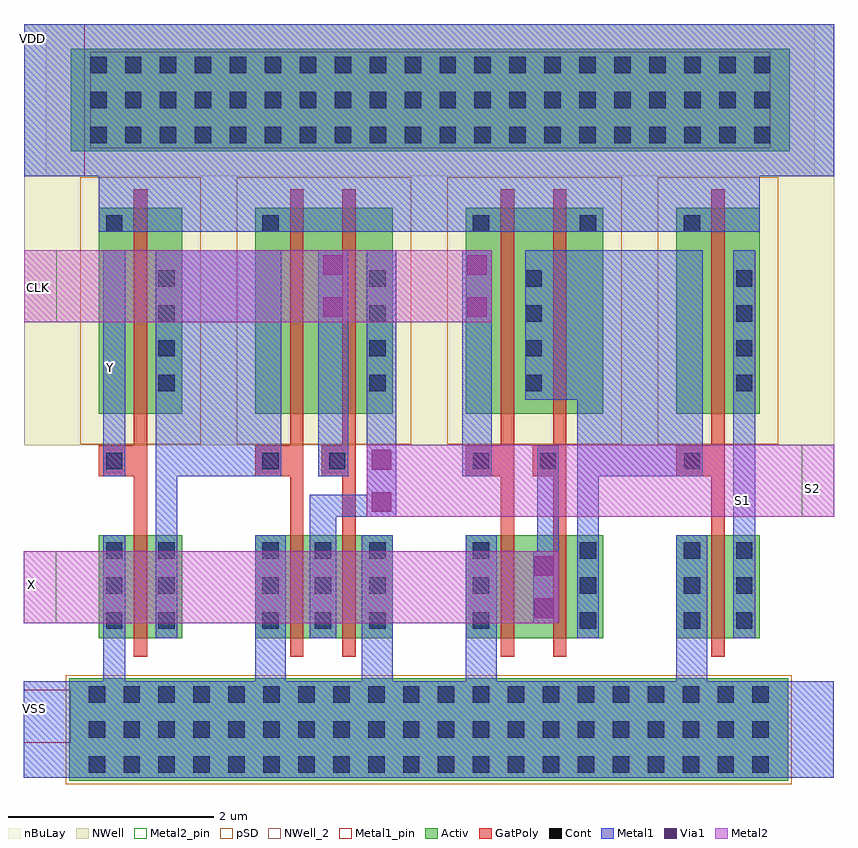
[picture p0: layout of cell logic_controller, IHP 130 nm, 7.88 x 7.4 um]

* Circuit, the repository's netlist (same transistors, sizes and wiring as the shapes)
** sch_path: /home/designer/shared/designs/SSDOR_1.2V_v3/components/logic_controller/logic_controller.sch
.subckt logic_controller VDD X S1 CLK Y S2 VSS
*.PININFO X:I CLK:I Y:I S1:O S2:O VSS:B VDD:B
MM1 net1 X VDD well sg13_lv_pmos w=2u l=0.13u ng=1 m=1
MM2 net1 CLK VDD well sg13_lv_pmos w=2u l=0.13u ng=1 m=1
MM3 net1 X net3 VSS sg13_lv_nmos w=1u l=0.13u ng=1 m=1
MM4 net3 CLK VSS VSS sg13_lv_nmos w=1u l=0.13u ng=1 m=1
MM5 S1 net1 VDD well sg13_lv_pmos w=2u l=0.13u ng=1 m=1
MM6 S1 net1 VSS VSS sg13_lv_nmos w=1u l=0.13u ng=1 m=1
MM7 net2 Y VDD well sg13_lv_pmos w=2u l=0.13u ng=1 m=1
MM8 net2 Y VSS VSS sg13_lv_nmos w=1u l=0.13u ng=1 m=1
MM9 net4 net2 VDD well sg13_lv_pmos w=2u l=0.13u ng=1 m=1
MM10 S2 CLK net4 well sg13_lv_pmos w=2u l=0.13u ng=1 m=1
MM11 S2 net2 VSS VSS sg13_lv_nmos w=1u l=0.13u ng=1 m=1
MM12 S2 CLK VSS VSS sg13_lv_nmos w=1u l=0.13u ng=1 m=1
RR1 VDD well ntap1 A=7e-12 P=1.6e-05
.ends

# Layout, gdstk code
import gdstk
lib = gdstk.Library(unit=1e-6, precision=5e-09)
def R(c, l, rs):  # rectangles x0, y0, x1, y1
    for r in rs: c.add(gdstk.rectangle(r[:2], r[2:], *l))
def A(c, l, x, y, w, h, nx, ny, dx, dy):  # array of equal rectangles
    R(c, l, [(x+i*dx, y+j*dy, x+i*dx+w, y+j*dy+h) for i in range(nx) for j in range(ny)])
def P(c, l, *ps):  # polygons
    for p in ps: c.add(gdstk.Polygon(p, *l))
Activ = (1, 0)
GatPoly = (5, 0)
Cont = (6, 0)
Metal1 = (8, 0)
Metal1_pin = (8, 2)
Metal2 = (10, 0)
Metal2_pin = (10, 2)
pSD = (14, 0)
Via1 = (19, 0)
NWell = (31, 0)
NWell_2 = (31, 2)
nBuLay = (32, 0)

via_stack_1 = lib.new_cell('via_stack$1')
R(via_stack_1, Metal1, [(-0.105,-0.35,0.105,0.35)])
R(via_stack_1, Metal2, [(-0.1,-0.35,0.1,0.35)])
R(via_stack_1, Via1, [(-0.095,-0.3,0.095,-0.11), (-0.095,0.11,0.095,0.3)])

ntap1_1 = lib.new_cell('ntap1$1')
R(ntap1_1, Activ, [(0,0,7,1)])
A(ntap1_1, Cont, 0.19, 0.08, 0.16, 0.16, 20, 3, 0.34, 0.34)
R(ntap1_1, Metal1, [(0.19,0.03,6.81,0.97)])
R(ntap1_1, Metal1_pin, [(0.19,0.03,6.81,0.97), (0.19,0.08,6.81,0.92)])
R(ntap1_1, NWell, [(-0.24,-0.24,7.24,1.24), (0,0,7,1)])
R(ntap1_1, NWell_2, [(0,0,7,1)])
R(ntap1_1, nBuLay, [(-0.24,-0.24,7.24,1.24)])
ntap1_1.add(gdstk.Label('well', (3.5,0.01), layer=31, texttype=0))
ntap1_1.add(gdstk.Label('well', (3.5,0.01), layer=63, texttype=0))

logic_controller = lib.new_cell('logic_controller')
R(logic_controller, Activ, [(4.075,2.805,11.075,3.805), (4.365,4.195,5.175,5.195), (5.885,4.195,7.225,5.195), (7.935,4.195,9.275,5.195), (9.985,4.195,10.795,5.195), (4.365,6.38,5.175,8.38), (5.885,6.38,7.225,8.38), (7.935,6.38,9.275,8.38), (9.985,6.38,10.795,8.38)])
P(logic_controller, GatPoly, [(4.705,4.015),(4.705,5.77),(4.365,5.77),(4.365,6.07),(4.705,6.07),(4.705,8.56),(4.835,8.56),(4.835,4.015)],
  [(6.225,4.015),(6.225,5.77),(5.885,5.77),(5.885,6.07),(6.225,6.07),(6.225,8.56),(6.355,8.56),(6.355,4.015)],
  [(6.735,4.015),(6.735,5.77),(6.535,5.77),(6.535,6.07),(6.735,6.07),(6.735,8.56),(6.865,8.56),(6.865,4.015)],
  [(8.275,4.015),(8.275,5.77),(7.935,5.77),(7.935,6.07),(8.275,6.07),(8.275,8.56),(8.405,8.56),(8.405,4.015)],
  [(8.785,4.015),(8.785,5.77),(8.585,5.77),(8.585,6.07),(8.785,6.07),(8.785,8.56),(8.915,8.56),(8.915,4.015)],
  [(10.325,4.015),(10.325,5.77),(9.985,5.77),(9.985,6.07),(10.325,6.07),(10.325,8.56),(10.455,8.56),(10.455,4.015)])
A(logic_controller, Cont, 4.265, 2.885, 0.16, 0.16, 20, 3, 0.34, 0.34)
A(logic_controller, Cont, 4.435, 4.285, 0.16, 0.16, 1, 3, 0, 0.34)
A(logic_controller, Cont, 4.945, 4.285, 0.16, 0.16, 1, 3, 0, 0.34)
A(logic_controller, Cont, 5.955, 4.285, 0.16, 0.16, 1, 3, 0, 0.34)
A(logic_controller, Cont, 6.465, 4.285, 0.16, 0.16, 1, 3, 0, 0.34)
A(logic_controller, Cont, 6.995, 4.285, 0.16, 0.16, 1, 3, 0, 0.34)
A(logic_controller, Cont, 8.005, 4.285, 0.16, 0.16, 1, 3, 0, 0.34)
A(logic_controller, Cont, 9.045, 4.285, 0.16, 0.16, 1, 3, 0, 0.34)
A(logic_controller, Cont, 10.055, 4.285, 0.16, 0.16, 1, 3, 0, 0.34)
A(logic_controller, Cont, 10.565, 4.285, 0.16, 0.16, 1, 3, 0, 0.34)
A(logic_controller, Cont, 4.945, 6.595, 0.16, 0.16, 1, 4, 0, 0.34)
A(logic_controller, Cont, 6.995, 6.595, 0.16, 0.16, 1, 4, 0, 0.34)
A(logic_controller, Cont, 8.515, 6.595, 0.16, 0.16, 1, 4, 0, 0.34)
A(logic_controller, Cont, 10.565, 6.595, 0.16, 0.16, 1, 4, 0, 0.34)
R(logic_controller, Cont, [(4.435,5.84,4.595,6), (5.955,5.84,6.115,6), (6.605,5.84,6.765,6), (8.005,5.84,8.165,6), (8.655,5.84,8.815,6), (10.055,5.84,10.215,6), (4.435,8.15,4.595,8.31), (5.955,8.15,6.115,8.31), (8.005,8.15,8.165,8.31), (9.045,8.15,9.205,8.31), (10.055,8.15,10.215,8.31)])
R(logic_controller, Metal1, [(3.635,2.835,11.515,3.775), (4.41,3.58,4.62,5.195), (5.885,3.58,6.185,5.195), (6.925,3.58,7.225,5.195), (7.935,3.58,8.235,5.195), (9.985,3.58,10.285,5.195), (10.54,4.195,10.75,7.97), (8.63,4.34,8.84,6.07), (4.41,5.77,4.62,7.97), (6.5,5.77,6.79,7.97), (7.9,5.77,8.19,7.97), (4.365,8.15,10.795,8.85), (3.64,8.69,11.52,10.17)])
P(logic_controller, Metal1, [(6.415,4.195),(6.415,5.59),(6.97,5.59),(6.97,7.97),(7.26,7.97),(7.26,5.375),(6.675,5.375),(6.675,4.195)],
  [(4.92,4.195),(4.92,7.97),(6.14,7.97),(6.14,5.77),(5.13,5.77),(5.13,4.195)],
  [(9.02,4.195),(9.02,6.515),(8.515,6.515),(8.515,7.97),(10.24,7.97),(10.24,5.77),(9.23,5.77),(9.23,4.195)])
R(logic_controller, Metal1_pin, [(3.635,3.175,4.09,3.69), (10.54,4.195,10.75,7.97), (4.41,5.77,4.62,7.97), (3.64,8.69,4.23,10.17)])
R(logic_controller, Metal2, [(3.635,4.34,8.84,5.04), (6.97,5.375,11.52,6.075), (3.64,7.27,8.19,7.97)])
R(logic_controller, Metal2_pin, [(3.635,4.34,3.95,5.04), (11.205,5.375,11.52,6.075), (3.64,7.27,3.955,7.97)])
R(logic_controller, pSD, [(4.045,2.775,11.105,3.835), (4.185,6.08,5.355,8.68), (5.705,6.08,7.405,8.68), (7.755,6.08,9.455,8.68), (9.805,6.08,10.975,8.68)])
R(logic_controller, NWell, [(3.64,6.07,11.52,10.17)])
logic_controller.add(gdstk.Reference(via_stack_1, (8.045,7.62)))
logic_controller.add(gdstk.Reference(via_stack_1, (6.645,7.62)))
logic_controller.add(gdstk.Reference(ntap1_1, (4.09,8.93)))
logic_controller.add(gdstk.Reference(via_stack_1, (8.695,4.69)))
logic_controller.add(gdstk.Reference(via_stack_1, (7.115,5.725)))
logic_controller.add(gdstk.Label('VDD', (3.72,10.03), layer=8, texttype=25))
logic_controller.add(gdstk.Label('VSS', (3.74,3.51), layer=8, texttype=25))
logic_controller.add(gdstk.Label('S1', (10.625,5.535), layer=8, texttype=25))
logic_controller.add(gdstk.Label('Y', (4.475,6.825), layer=8, texttype=25))
logic_controller.add(gdstk.Label('CLK', (3.78,7.605), layer=10, texttype=25))
logic_controller.add(gdstk.Label('X', (3.71,4.72), layer=10, texttype=25))
logic_controller.add(gdstk.Label('S2', (11.305,5.655), layer=10, texttype=25))

lib.write_gds('logic_controller.gds')
